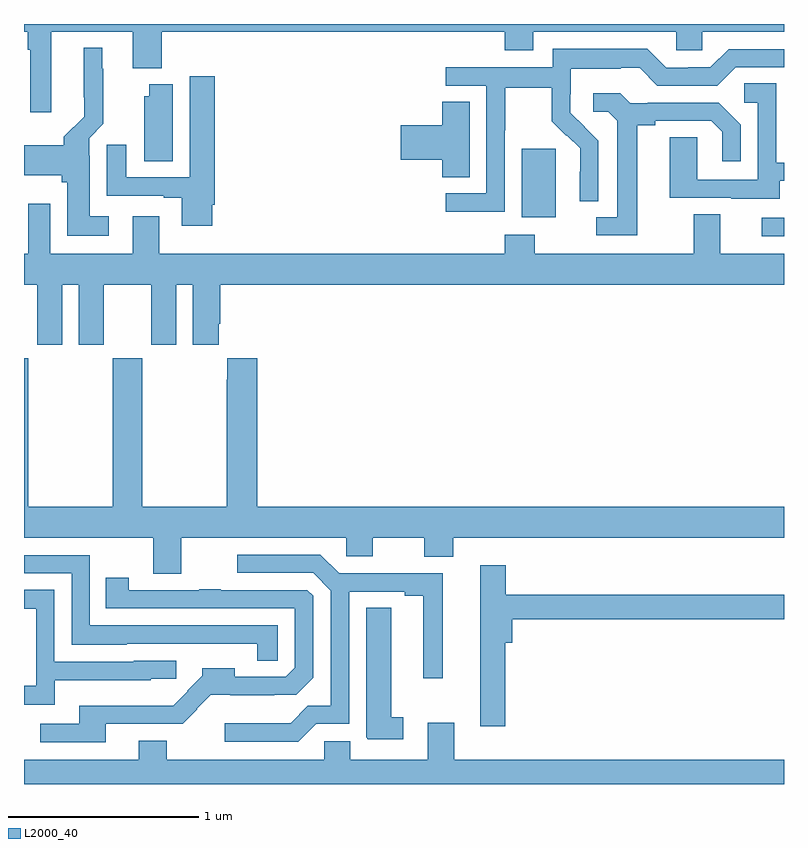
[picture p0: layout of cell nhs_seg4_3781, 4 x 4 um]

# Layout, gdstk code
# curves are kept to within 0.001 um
import gdstk
lib = gdstk.Library(unit=1e-6, precision=1e-09)
def R(c, l, rs):  # rectangles x0, y0, x1, y1
    for r in rs: c.add(gdstk.rectangle(r[:2], r[2:], *l))
def P(c, l, *ps):  # polygons
    for p in ps: c.add(gdstk.Polygon(p, *l))
L2000_40 = (2000, 40)

nhs_seg4_3781 = lib.new_cell('nhs_seg4_3781')
R(nhs_seg4_3781, L2000_40, [(314.883,755.784,315,755.88), (313.619,755.882,313.798,756.243)])
P(nhs_seg4_3781, L2000_40, [(311.143,756.86),(311.573,756.86),(311.573,756.668),(311.726,756.668),(311.726,756.86),(313.529,756.86),(313.529,756.761),(313.681,756.761),(313.681,756.86),(314.433,756.86),(314.433,756.762),(314.571,756.762),(314.571,756.86),(315,756.86),(315,756.9),(311,756.9),(311,756.86),(311.021,756.86),(311.021,756.764),(311.033,756.764),(311.033,756.435),(311.143,756.435)],
  [(311.446,755.887),(311.347,755.887),(311.347,756.206),(311.343,756.206),(311.343,756.3),(311.417,756.374),(311.417,756.665),(311.413,756.665),(311.413,756.775),(311.315,756.775),(311.316,756.412),(311.21,756.306),(311.21,756.262),(311,756.262),(311,756.104),(311.198,756.104),(311.198,756.066),(311.228,756.066),(311.228,755.786),(311.446,755.786)],
  [(313.53,756.34),(313.533,756.34),(313.533,756.564),(313.777,756.564),(313.777,756.389),(313.854,756.312),(313.857,756.315),(313.928,756.245),(313.928,756.122),(313.926,756.122),(313.926,755.968),(314.022,755.968),(314.022,756.286),(313.876,756.434),(313.876,756.531),(313.878,756.531),(313.878,756.665),(314.141,756.665),(314.141,756.669),(314.241,756.669),(314.334,756.576),(314.649,756.576),(314.745,756.672),(315,756.672),(315,756.768),(314.709,756.768),(314.613,756.672),(314.495,756.672),(314.495,756.669),(314.379,756.669),(314.279,756.769),(313.782,756.769),(313.782,756.672),(313.221,756.672),(313.221,756.576),(313.434,756.576),(313.434,756.009),(313.221,756.009),(313.221,755.911),(313.53,755.911)],
  [(311.992,755.95),(312.005,755.95),(312.005,756.625),(311.873,756.625),(311.873,756.093),(311.539,756.093),(311.539,756.265),(311.435,756.265),(311.435,755.997),(311.735,755.997),(311.735,755.985),(311.831,755.985),(311.831,755.838),(311.992,755.838)],
  [(314.977,756.075),(315,756.075),(315,756.171),(314.958,756.171),(314.958,756.587),(314.79,756.587),(314.79,756.486),(314.862,756.486),(314.862,756.081),(314.544,756.081),(314.544,756.305),(314.399,756.305),(314.399,755.985),(314.723,755.985),(314.723,755.981),(314.977,755.981)],
  [(311.782,756.583),(311.66,756.583),(311.66,756.519),(311.633,756.519),(311.633,756.178),(311.782,756.178)],
  [(314.227,756.368),(314.323,756.368),(314.323,756.39),(314.618,756.39),(314.675,756.333),(314.675,756.177),(314.772,756.177),(314.772,756.37),(314.656,756.486),(314.284,756.486),(314.284,756.483),(314.19,756.483),(314.138,756.535),(313.995,756.535),(313.995,756.438),(314.076,756.438),(314.123,756.391),(314.123,755.883),(314.013,755.883),(314.013,755.787),(314.227,755.787)],
  [(313.345,756.491),(313.202,756.491),(313.202,756.368),(312.984,756.368),(312.984,756.185),(313.202,756.185),(313.202,756.094),(313.345,756.094)],
  [(311.2,755.528),(311.288,755.528),(311.288,755.211),(311.419,755.211),(311.419,755.528),(311.669,755.528),(311.669,755.211),(311.8,755.211),(311.8,755.528),(311.888,755.528),(311.888,755.211),(312.025,755.211),(312.025,755.323),(312.032,755.323),(312.032,755.528),(315,755.528),(315,755.692),(314.665,755.692),(314.665,755.9),(314.525,755.9),(314.525,755.692),(313.689,755.692),(313.689,755.791),(313.529,755.791),(313.529,755.692),(311.713,755.692),(311.713,755.887),(311.573,755.887),(311.573,755.692),(311.139,755.692),(311.139,755.953),(311.023,755.953),(311.023,755.692),(311,755.692),(311,755.528),(311.069,755.528),(311.069,755.211),(311.2,755.211)],
  [(311.827,754.196),(312.696,754.196),(312.696,754.098),(312.835,754.098),(312.835,754.196),(313.106,754.196),(313.106,754.097),(313.259,754.097),(313.259,754.196),(315,754.196),(315,754.36),(312.227,754.36),(312.227,755.14),(312.071,755.14),(312.071,755.027),(312.067,755.027),(312.067,754.36),(311.622,754.36),(311.622,755.14),(311.467,755.14),(311.467,754.36),(311.022,754.36),(311.022,755.14),(311,755.14),(311,754.196),(311.68,754.196),(311.68,754.006),(311.827,754.006)],
  [(312.537,753.216),(312.711,753.216),(312.711,753.912),(313.004,753.912),(313.004,753.892),(313.1,753.892),(313.1,753.456),(313.204,753.456),(313.204,754.008),(312.658,754.008),(312.559,754.107),(312.123,754.107),(312.123,754.011),(312.522,754.011),(312.615,753.918),(312.615,753.311),(312.494,753.311),(312.403,753.22),(312.057,753.22),(312.057,753.123),(312.444,753.123)],
  [(312.336,753.735),(311.346,753.735),(311.346,754.104),(311,754.104),(311,754.008),(311.25,754.008),(311.25,753.632),(311.541,753.632),(311.541,753.639),(311.973,753.639),(311.973,753.638),(312.228,753.638),(312.228,753.55),(312.336,753.55)],
  [(313.532,753.644),(313.571,753.644),(313.571,753.766),(315,753.766),(315,753.895),(313.535,753.895),(313.535,754.051),(313.4,754.051),(313.4,753.204),(313.532,753.204)],
  [(311.431,753.216),(311.835,753.216),(311.911,753.293),(311.909,753.295),(311.983,753.369),(312.317,753.368),(312.317,753.37),(312.433,753.37),(312.522,753.459),(312.522,753.891),(312.492,753.921),(312.035,753.921),(312.035,753.926),(311.923,753.926),(311.923,753.921),(311.55,753.921),(311.55,753.985),(311.431,753.985),(311.431,753.825),(312.426,753.825),(312.426,753.513),(312.378,753.465),(312.109,753.465),(312.109,753.508),(311.938,753.508),(311.938,753.469),(311.859,753.39),(311.862,753.387),(311.786,753.311),(311.684,753.311),(311.684,753.313),(311.291,753.313),(311.291,753.216),(311.085,753.216),(311.085,753.12),(311.431,753.12)],
  [(311.161,753.446),(311.667,753.446),(311.667,753.453),(311.802,753.453),(311.802,753.549),(311.577,753.549),(311.577,753.543),(311.16,753.543),(311.16,753.923),(311,753.923),(311,753.822),(311.064,753.822),(311.064,753.417),(311,753.417),(311,753.317),(311.161,753.317)],
  [(312.997,753.251),(312.934,753.251),(312.934,753.827),(312.8,753.827),(312.8,753.145),(312.81,753.135),(312.997,753.135)],
  [(315,753.028),(313.264,753.028),(313.264,753.223),(313.124,753.223),(313.124,753.028),(312.718,753.028),(312.718,753.126),(312.579,753.126),(312.579,753.028),(311.751,753.028),(311.751,753.127),(311.603,753.127),(311.603,753.028),(311,753.028),(311,752.9),(315,752.9)])

lib.write_gds('nhs_seg4_3781.gds')
